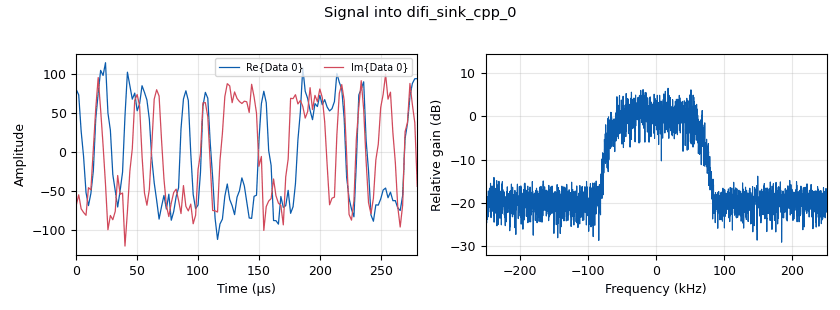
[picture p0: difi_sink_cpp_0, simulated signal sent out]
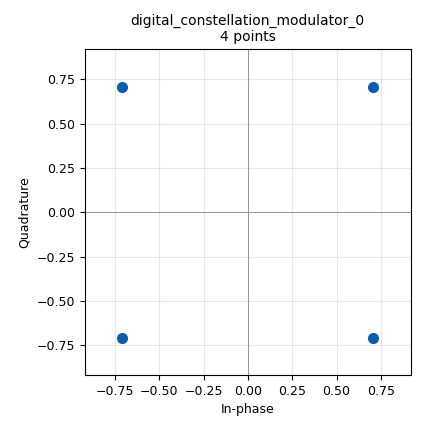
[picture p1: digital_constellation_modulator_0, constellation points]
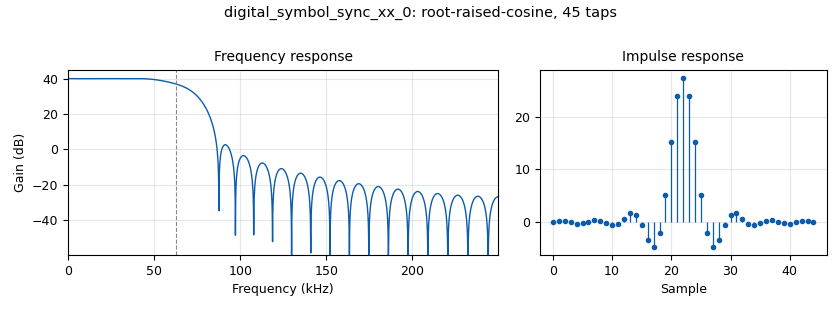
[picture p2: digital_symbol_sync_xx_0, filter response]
options:
  parameters:
    author: Marc Lichtman
    generate_options: qt_gui
    id: pn11_over_difi
    output_language: python
    title: PN11 Over DIFI
  states: {}

blocks:
- name: qpsk_constellation
  id: variable_constellation_rect
  parameters:
    const_points: '[-1-1j, -1+1j, 1+1j, 1-1j]'
    imag_sect: '2'
    real_sect: '2'
    rot_sym: '4'
    sym_map: '[0, 1, 3, 2]'
    w_imag_sect: '1'
    w_real_sect: '1'
  states: {}
- name: rrc_filter_taps
  id: variable_rrc_filter_taps
  parameters:
    alpha: '0.35'
    comment: |-
      matches what Constellation Modulator
      does under the hood for pulse shaping
    gain: '100'
    ntaps: 11*sps
    samp_rate: samp_rate
    sym_rate: samp_rate/sps
  states: {}
- name: samp_rate
  id: variable
  parameters:
    value: '500000'
  states: {}
- name: sps
  id: variable
  parameters:
    value: '4'
  states: {}
- name: analog_fastnoise_source_x_0
  id: analog_fastnoise_source_x
  parameters:
    amp: '0.2'
    noise_type: analog.GR_GAUSSIAN
    samples: '8192'
    seed: '0'
    type: complex
  states: {}
- name: analog_random_source_x_0
  id: analog_random_source_x
  parameters:
    max: '256'
    min: '0'
    num_samps: '1000'
    repeat: 'True'
    type: byte
  states: {}
- name: blocks_add_xx_0
  id: blocks_add_xx
  parameters:
    type: complex
  states: {}
- name: blocks_multiply_const_vxx_0
  id: blocks_multiply_const_vxx
  parameters:
    const: 127*0.7
    type: complex
  states: {}
- name: blocks_multiply_const_vxx_0_0
  id: blocks_multiply_const_vxx
  parameters:
    comment: |-
      symbol sync likes the
      signal to be close to -1 to +1
    const: 1/127
    type: complex
  states: {}
- name: blocks_throttle2_0
  id: blocks_throttle2
  parameters:
    samples_per_second: samp_rate
    type: complex
  states: {}
- name: difi_sink_cpp_0
  id: difi_sink_cpp
  parameters:
    bit_depth: '8'
    context_pack_size: '108'
    context_packet_send_count: '1000'
    data_size: '128'
    gain: '1.0'
    ip_addr: 127.0.0.1
    max_iq: '127'
    min_iq: '-127'
    mode: 'False'
    offset: '0'
    port: '50003'
    protocol: '2'
    reference_time_frac: '0'
    reference_time_full: '0'
    sample_rate: samp_rate
    scaling: '2'
    stream_id: '0'
    type: complex
  states: {}
- name: difi_source_cpp_0_0
  id: difi_source_cpp
  parameters:
    bit_depth: '8'
    context_behavior: '0'
    ip_addr: 127.0.0.1
    port: '50003'
    protocol: '2'
    stream_num: '0'
    type: complex
  states: {}
- name: digital_constellation_modulator_0
  id: digital_constellation_modulator
  parameters:
    constellation: qpsk_constellation
    differential: 'True'
    excess_bw: '0.35'
    samples_per_symbol: sps
  states: {}
- name: digital_costas_loop_cc_0
  id: digital_costas_loop_cc
  parameters:
    order: '4'
    w: '0.06'
  states: {}
- name: digital_symbol_sync_xx_0
  id: digital_symbol_sync_xx
  parameters:
    damping: '1.0'
    loop_bw: '0.045'
    max_dev: '1.5'
    nfilters: '32'
    osps: '1'
    pfb_mf_taps: rrc_filter_taps
    resamp_type: digital.IR_PFB_MF
    sps: sps
    ted_gain: '1.0'
    ted_type: digital.TED_SIGNAL_TIMES_SLOPE_ML
    type: cc
  states: {}
- name: qtgui_const_sink_x_0
  id: qtgui_const_sink_x
  parameters:
    grid: 'True'
    gui_hint: 2,0,1,1
    size: '1024'
    type: complex
  states: {}
- name: qtgui_freq_sink_x_0
  id: qtgui_freq_sink_x
  parameters:
    average: '0.2'
    bw: samp_rate
    fc: '0'
    fftsize: '1024'
    grid: 'True'
    gui_hint: 0,0,1,1
    legend: 'False'
    type: complex
    ymax: '-25'
    ymin: '-60'
  states: {}
- name: qtgui_time_sink_x_0_0
  id: qtgui_time_sink_x
  parameters:
    autoscale: 'True'
    grid: 'True'
    gui_hint: 1,0,1,1
    label1: I
    label2: Q
    marker1: '0'
    marker2: '0'
    size: '100'
    srate: samp_rate
    type: complex
    update_time: '0.20'
  states: {}

connections:
- [analog_fastnoise_source_x_0, '0', blocks_add_xx_0, '1']
- [analog_random_source_x_0, '0', digital_constellation_modulator_0, '0']
- [blocks_add_xx_0, '0', blocks_throttle2_0, '0']
- [blocks_multiply_const_vxx_0, '0', difi_sink_cpp_0, '0']
- [blocks_multiply_const_vxx_0_0, '0', digital_symbol_sync_xx_0, '0']
- [blocks_multiply_const_vxx_0_0, '0', qtgui_freq_sink_x_0, '0']
- [blocks_multiply_const_vxx_0_0, '0', qtgui_time_sink_x_0_0, '0']
- [blocks_throttle2_0, '0', blocks_multiply_const_vxx_0, '0']
- [difi_source_cpp_0_0, '0', blocks_multiply_const_vxx_0_0, '0']
- [digital_constellation_modulator_0, '0', blocks_add_xx_0, '0']
- [digital_costas_loop_cc_0, '0', qtgui_const_sink_x_0, '0']
- [digital_symbol_sync_xx_0, '0', digital_costas_loop_cc_0, '0']

metadata:
  file_format: 1
  grc_version: 3.10.9.2
